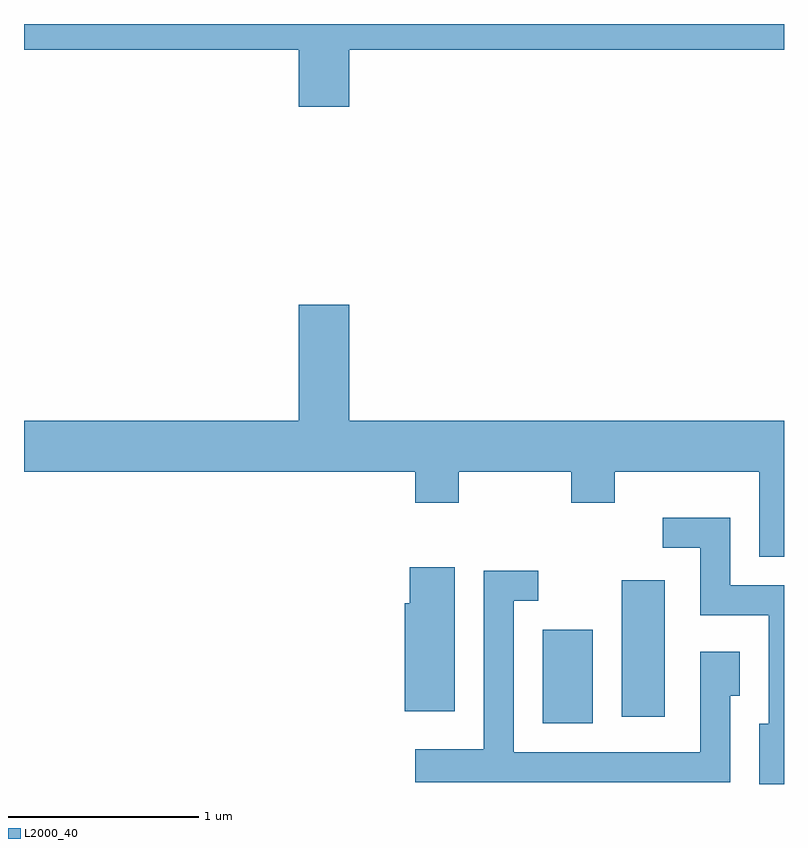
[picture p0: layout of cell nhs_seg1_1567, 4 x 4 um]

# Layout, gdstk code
import gdstk
lib = gdstk.Library(unit=1e-6, precision=1e-09)
def R(c, l, rs):  # rectangles x0, y0, x1, y1
    for r in rs: c.add(gdstk.rectangle(r[:2], r[2:], *l))
def P(c, l, *ps):  # polygons
    for p in ps: c.add(gdstk.Polygon(p, *l))
L2000_40 = (2000, 40)

nhs_seg1_1567 = lib.new_cell('nhs_seg1_1567')
R(nhs_seg1_1567, L2000_40, [(236.341,896.031,236.604,896.524), (236.756,896.066,236.984,896.784)])
P(nhs_seg1_1567, L2000_40, [(235.324,899.576),(237.611,899.576),(237.611,899.712),(233.611,899.712),(233.611,899.576),(235.056,899.576),(235.056,899.276),(235.324,899.276)],
  [(237.611,897.624),(235.324,897.624),(235.324,898.234),(235.056,898.234),(235.056,897.624),(233.611,897.624),(233.611,897.356),(235.671,897.356),(235.671,897.191),(235.899,897.191),(235.899,897.356),(236.491,897.356),(236.491,897.191),(236.719,897.191),(236.719,897.356),(237.481,897.356),(237.481,896.908),(237.611,896.908)],
  [(237.611,896.759),(237.329,896.759),(237.329,897.114),(236.973,897.114),(236.973,896.956),(237.171,896.956),(237.171,896.601),(237.531,896.601),(237.531,896.029),(237.481,896.029),(237.481,895.712),(237.611,895.712)],
  [(235.879,896.854),(235.641,896.854),(235.641,896.664),(235.616,896.664),(235.616,896.096),(235.879,896.096)],
  [(237.329,896.176),(237.379,896.176),(237.379,896.409),(237.171,896.409),(237.171,895.879),(236.189,895.879),(236.189,896.676),(236.318,896.676),(236.318,896.834),(236.031,896.834),(236.031,895.894),(235.671,895.894),(235.671,895.721),(237.329,895.721)])

lib.write_gds('nhs_seg1_1567.gds')
